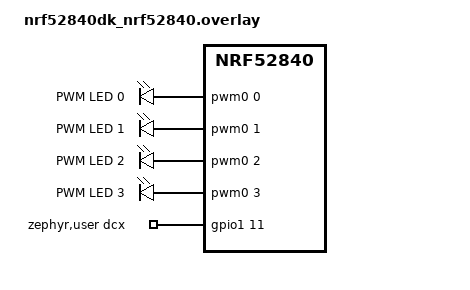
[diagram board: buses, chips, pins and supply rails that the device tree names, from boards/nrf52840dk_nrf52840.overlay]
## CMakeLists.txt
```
#-------------------------------------------------------------------------------
# Zephyr Example Application
#
# Copyright (c) 2021 Nordic Semiconductor ASA
# SPDX-License-Identifier: Apache-2.0

cmake_minimum_required(VERSION 3.13.1)
find_package(Zephyr REQUIRED HINTS $ENV{ZEPHYR_BASE})

project(app LANGUAGES C)

zephyr_include_directories(src)

target_sources(app PRIVATE src/main.c)
target_sources(app PRIVATE src/TheRealGoat.c)
```

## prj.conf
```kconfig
# Copyright (c) 2021 Nordic Semiconductor ASA
# SPDX-License-Identifier: Apache-2.0
#
# This file contains selected Kconfig options for the application.

CONFIG_GPIO=y
CONFIG_PWM=y
CONFIG_SMF=y

CONFIG_SPI=y
CONFIG_I2C=y

CONFIG_DISPLAY=y
CONFIG_LVGL=y

CONFIG_MAIN_STACK_SIZE=4096
CONFIG_HEAP_MEM_POOL_SIZE=32768
CONFIG_LV_Z_MEM_POOL_SIZE=32768

CONFIG_CONSOLE=y
CONFIG_PRINTK=y
```

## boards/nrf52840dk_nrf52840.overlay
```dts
/ {
    pwmleds {
        compatible = "pwm-leds";
        pwm_led0: pwm_led_0 {
            pwms = <&pwm0 0 PWM_MSEC(20) PWM_POLARITY_NORMAL>;
            label = "PWM LED 0";
        };
        pwm_led1: pwm_led_1 {
            pwms = <&pwm0 1 PWM_MSEC(20) PWM_POLARITY_NORMAL>;
            label = "PWM LED 1";
        };
        pwm_led2: pwm_led_2 {
            pwms = <&pwm0 2 PWM_MSEC(20) PWM_POLARITY_NORMAL>;
            label = "PWM LED 2";
        };
        pwm_led3: pwm_led_3 {
            pwms = <&pwm0 3 PWM_MSEC(20) PWM_POLARITY_NORMAL>;
            label = "PWM LED 3";
        };
    };

    zephyr,user {
        dcx-gpios = <&gpio1 11 GPIO_ACTIVE_HIGH>;
    };




    aliases {
        pwm-led0 = &pwm_led0;
        pwm-led1 = &pwm_led1;
        pwm-led2 = &pwm_led2;
        pwm-led3 = &pwm_led3;
    };
};
&arduino_spi {
cs-gpios = <&gpio1 12 GPIO_ACTIVE_LOW>;
};

&pinctrl { 
    pwm0_default: pwm0_default {
		group1 {
			psels = 
                <NRF_PSEL(PWM_OUT0, 0, 13)>, 
                <NRF_PSEL(PWM_OUT1, 0, 14)>, 
                <NRF_PSEL(PWM_OUT2, 0, 15)>, 
                <NRF_PSEL(PWM_OUT3, 0, 16)>;
			nordic,invert;
		};
	};

    pwm0_sleep: pwm0_sleep {
		group1 {
			psels = 
                <NRF_PSEL(PWM_OUT0, 0, 13)>, 
                <NRF_PSEL(PWM_OUT1, 0, 14)>, 
                <NRF_PSEL(PWM_OUT2, 0, 15)>, 
                <NRF_PSEL(PWM_OUT3, 0, 16)>;
			low-power-enable;
		};
	};
};
```

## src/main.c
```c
/**
 * @file main.c
 */

#include <stdbool.h>
#include <stdint.h>

#include <zephyr/device.h>
#include <zephyr/drivers/display.h>
#include <zephyr/kernel.h>
#include <zephyr/sys/printk.h>

#include <lvgl.h>

#include "BTN.h"
#include "LED.h"

#define SCREEN_W 320
#define SCREEN_H 240

#define PADDLE_W 20
#define PADDLE_H 5
#define BALL_SIZE 16

#define LAUNCHER_W 12
#define LAUNCHER_H 24

#define PLAYER1_Y (SCREEN_H - 20)
#define PLAYER2_Y 25

#define PLAYER_SPEED 10
#define FRAME_MS 16
#define COUNTDOWN_TIME_MS 3000

#define WIN_SCORE 5

#define GAME_OVER_LED_STEP_MS 80

typedef struct {
    int x;
    int y;
    int vx;
    int vy;
} ball_t;

static const struct device *display_dev;

/* LVGL objects */
static lv_obj_t *player1_paddle;
static lv_obj_t *player2_paddle;
static lv_obj_t *ball_obj;
static lv_obj_t *player1_score_label;
static lv_obj_t *player2_score_label;
static lv_obj_t *winner_label;
static lv_obj_t *restart_label;
static lv_obj_t *countdown_label;
static lv_obj_t *launcher_box;

/* Game state */
static ball_t ball;
static int player1_x = (SCREEN_W - PADDLE_W) / 2;
static int player2_x = (SCREEN_W - PADDLE_W) / 2;
static int player1_score = 0;
static int player2_score = 0;
static bool game_over = false;

static void update_ui_positions(void);
static void reset_ball(bool toward_player1);
static void update_game(void);
static void update_score_labels(void);
static void show_game_over(uint8_t winner);
static void reset_match(void);

static int game_over_led_index = 0;
static int game_over_led_timer_ms = 0;
static void all_leds_off(void);
static void update_game_over_leds(void);

static void start_round_pause(bool toward_player1);
static void update_round_pause(void);
static bool round_pause = false;
static int countdown_ms = 0;
static int next_serve_toward_player1 = 1;

// The goat
LV_IMAGE_DECLARE(TheRealGoat);
/*----------------------------------------------------------------------------
 * Helper: update score text
 *---------------------------------------------------------------------------*/
static void update_score_labels(void)
{
    static char top_text[24];
    static char bottom_text[24];

    snprintk(top_text, sizeof(top_text), "P2: %d", player2_score);
    snprintk(bottom_text, sizeof(bottom_text), "P1: %d", player1_score);

    lv_label_set_text(player2_score_label, top_text);
    lv_label_set_text(player1_score_label, bottom_text);

    lv_obj_update_layout(player2_score_label);
    lv_obj_update_layout(player1_score_label);

    // Bottom score: centered above Player 1 paddle
    lv_obj_align(player1_score_label, LV_ALIGN_BOTTOM_MID, 0, -28);

    lv_obj_align(player2_score_label, LV_ALIGN_TOP_MID, 0, 40);

    // Rotate around the label's own center so it stays visually centered
    lv_obj_set_style_transform_pivot_x(player2_score_label, lv_obj_get_width(player2_score_label) / 2, 0);
    lv_obj_set_style_transform_pivot_y(player2_score_label, lv_obj_get_height(player2_score_label) / 2, 0);
}



/*----------------------------------------------------------------------------
 * Helper: reset ball
 *---------------------------------------------------------------------------*/
static void reset_ball(bool toward_player1)
{
    ball.x = 0;
    ball.y = (SCREEN_H - BALL_SIZE) / 2;
    ball.vx = 6;

    if (toward_player1) {
        ball.vy = 4;
    } else {
        ball.vy = -4;
    }
}


/*----------------------------------------------------------------------------
 * Helper: reset full match
 * BTN0 resets after game over
 *---------------------------------------------------------------------------*/
static void reset_match(void)
{
    player1_score = 0;
    player2_score = 0;
    player1_x = (SCREEN_W - PADDLE_W) / 2;
    player2_x = (SCREEN_W - PADDLE_W) / 2;
    game_over = false;

    round_pause = false;
    countdown_ms = 0;

    game_over_led_index = 0;
    game_over_led_timer_ms = 0;
    all_leds_off();

    update_score_labels();
    reset_ball(true);
    update_ui_positions();
    lv_obj_set_style_transform_rotation(winner_label, 0, 0);
    lv_obj_set_style_transform_rotation(restart_label, 0, 0);
    lv_obj_add_flag(winner_label, LV_OBJ_FLAG_HIDDEN);
    lv_obj_add_flag(restart_label, LV_OBJ_FLAG_HIDDEN);
    lv_obj_add_flag(countdown_label, LV_OBJ_FLAG_HIDDEN);
    lv_obj_clear_flag(player1_paddle, LV_OBJ_FLAG_HIDDEN);
    lv_obj_clear_flag(player2_paddle, LV_OBJ_FLAG_HIDDEN);
    lv_obj_clear_flag(ball_obj, LV_OBJ_FLAG_HIDDEN);
}

/*----------------------------------------------------------------------------
 * Helper: show game over screen
 *---------------------------------------------------------------------------*/
static void show_game_over(uint8_t winner)
{
    static char win_text[40];

    game_over = true;
    round_pause = false;
    lv_obj_add_flag(countdown_label, LV_OBJ_FLAG_HIDDEN);

    snprintk(win_text, sizeof(win_text), "Congrats Player %d!", winner);
    lv_label_set_text(winner_label, win_text);
    lv_label_set_text(restart_label, "Press BTN1 to restart");

    /* First make them visible */
    lv_obj_clear_flag(winner_label, LV_OBJ_FLAG_HIDDEN);
    lv_obj_clear_flag(restart_label, LV_OBJ_FLAG_HIDDEN);

    /* Let LVGL calculate the real size of the text */
    lv_obj_update_layout(winner_label);
    lv_obj_update_layout(restart_label);

    if (winner == 2) {
        lv_obj_set_style_transform_pivot_x(winner_label, lv_obj_get_width(winner_label) / 2, 0);
        lv_obj_set_style_transform_pivot_y(winner_label, lv_obj_get_height(winner_label) / 2, 0);

        lv_obj_set_style_transform_pivot_x(restart_label, lv_obj_get_width(restart_label) / 2, 0);
        lv_obj_set_style_transform_pivot_y(restart_label, lv_obj_get_height(restart_label) / 2, 0);

        // Put the text where Player 2 can read it
        lv_obj_align(winner_label, LV_ALIGN_CENTER, 0, 10);
        lv_obj_align(restart_label, LV_ALIGN_CENTER, 0, -20);        
    } else {
        lv_obj_set_style_transform_rotation(winner_label, 0, 0);
        lv_obj_set_style_transform_rotation(restart_label, 0, 0);
        
        lv_obj_align(winner_label, LV_ALIGN_CENTER, 0, -10);
        lv_obj_align(restart_label, LV_ALIGN_CENTER, 0, 20);
    }

    lv_obj_align(winner_label, LV_ALIGN_CENTER, 0, -10);
    lv_obj_align(restart_label, LV_ALIGN_CENTER, 0, 20);

    lv_obj_clear_flag(winner_label, LV_OBJ_FLAG_HIDDEN);
    lv_obj_clear_flag(restart_label, LV_OBJ_FLAG_HIDDEN);
    lv_obj_add_flag(countdown_label, LV_OBJ_FLAG_HIDDEN);

    lv_obj_add_flag(player1_paddle, LV_OBJ_FLAG_HIDDEN);
    lv_obj_add_flag(player2_paddle, LV_OBJ_FLAG_HIDDEN);
    lv_obj_add_flag(ball_obj, LV_OBJ_FLAG_HIDDEN);
}

/*----------------------------------------------------------------------------
 * Helper: push state to LVGL objects
 *---------------------------------------------------------------------------*/
static void update_ui_positions(void)
{
    lv_obj_set_pos(player1_paddle, player1_x, PLAYER1_Y);
    lv_obj_set_pos(player2_paddle, player2_x, PLAYER2_Y);
    lv_obj_set_pos(ball_obj, ball.x, ball.y);
}

static void start_round_pause(bool toward_player1)
{
    round_pause = true;
    countdown_ms = COUNTDOWN_TIME_MS;
    next_serve_toward_player1 = toward_player1 ? 1 : 0;

    player1_x = (SCREEN_W - PADDLE_W) / 2;
    player2_x = (SCREEN_W - PADDLE_W) / 2;
    update_ui_positions();

    lv_obj_add_flag(ball_obj, LV_OBJ_FLAG_HIDDEN);
    lv_obj_clear_flag(countdown_label, LV_OBJ_FLAG_HIDDEN);
}

static void update_round_pause(void)
{
    static char countdown_text[16];
    int seconds_left;

    if (!round_pause) {
        return;
    }

    seconds_left = (countdown_ms + 999) / 1000;
    snprintk(countdown_text, sizeof(countdown_text), "%d", seconds_left);
    lv_label_set_text(countdown_label, countdown_text);

    countdown_ms -= FRAME_MS;

    if (countdown_ms <= 0) {
        round_pause = false;
        lv_obj_add_flag(countdown_label, LV_OBJ_FLAG_HIDDEN);
        lv_obj_clear_flag(ball_obj, LV_OBJ_FLAG_HIDDEN);

        reset_ball(next_serve_toward_player1);
        update_ui_positions();
    }
}

// LED helpers
static void show_p2_hit_leds(void)
{
    LED_set(LED0, LED_ON);
    LED_set(LED1, LED_ON);
    LED_set(LED2, LED_OFF);
    LED_set(LED3, LED_OFF);
}

static void show_p1_hit_leds(void)
{
    LED_set(LED0, LED_OFF);
    LED_set(LED1, LED_OFF);
    LED_set(LED2, LED_ON);
    LED_set(LED3, LED_ON);
}

static void all_leds_off(void)
{
    LED_set(LED0, LED_OFF);
    LED_set(LED1, LED_OFF);
    LED_set(LED2, LED_OFF);
    LED_set(LED3, LED_OFF);
}

static void update_game_over_leds(void)
{
    game_over_led_timer_ms += FRAME_MS;

    if (game_over_led_timer_ms < GAME_OVER_LED_STEP_MS) {
        return;
    }

    game_over_led_timer_ms = 0;

    all_leds_off();

    switch (game_over_led_index) {
    case 0:
        LED_set(LED0, LED_ON);
        break;
    case 1:
        LED_set(LED1, LED_ON);
        break;
    case 2:
        LED_set(LED2, LED_ON);
        break;
    case 3:
        LED_set(LED3, LED_ON);
        break;
    }

    game_over_led_index = (game_over_led_index + 1) % 4;
}

/*----------------------------------------------------------------------------
 * Main game step
 * Player 2 (top):    BTN0 left, BTN1 right
 * Player 1 (bottom): BTN2 left, BTN3 right
 *---------------------------------------------------------------------------*/
static void update_game(void)
{
    if (game_over) {

        update_game_over_leds();

        if (BTN_is_pressed(BTN0)) {
            k_msleep(150);
            reset_match();
        }
        return;
    }

    if (round_pause) {
        update_round_pause();
        return;
    }

    /* Player 2 movement */
    if (BTN_is_pressed(BTN0) && !BTN_is_pressed(BTN1)) {
        player2_x -= PLAYER_SPEED;
    } else if (BTN_is_pressed(BTN1) && !BTN_is_pressed(BTN0)) {
        player2_x += PLAYER_SPEED;
    }

    /* Player 1 movement */
    if (BTN_is_pressed(BTN2) && !BTN_is_pressed(BTN3)) {
        player1_x -= PLAYER_SPEED;
    } else if (BTN_is_pressed(BTN3) && !BTN_is_pressed(BTN2)) {
        player1_x += PLAYER_SPEED;
    }

    if (player1_x < 0) {
        player1_x = 0;
    }
    if (player1_x > (SCREEN_W - PADDLE_W)) {
        player1_x = SCREEN_W - PADDLE_W;
    }

    if (player2_x < 0) {
        player2_x = 0;
    }
    if (player2_x > (SCREEN_W - PADDLE_W)) {
        player2_x = SCREEN_W - PADDLE_W;
    }
    // Ball Movement
    ball.x += ball.vx;
    ball.y += ball.vy;

    // Side Walls
    if (ball.x <= 0) {
        ball.x = 0;
        ball.vx = -ball.vx;
    }
    if (ball.x >= (SCREEN_W - BALL_SIZE)) {
        ball.x = SCREEN_W - BALL_SIZE;
        ball.vx = -ball.vx;
    }

    int ball_center = ball.x + (BALL_SIZE / 2);

    // Top paddle collision
    if ((ball.y <= (PLAYER2_Y + PADDLE_H)) &&
        ((ball.y + BALL_SIZE) >= PLAYER2_Y) &&
        ((ball.x + BALL_SIZE) >= player2_x) &&
        (ball.x <= (player2_x + PADDLE_W)) &&
        (ball.vy < 0)) {

        ball.y = PLAYER2_Y + PADDLE_H;
        ball.vy = -ball.vy;

        show_p2_hit_leds();

        int offset = ball_center - (player2_x + (PADDLE_W / 2));
        if (offset < -10) {
            ball.vx = -3;
        } else if (offset > 10) {
            ball.vx = 3;
        }
    }

    // Bottom paddle collision
    if (((ball.y + BALL_SIZE) >= PLAYER1_Y) &&
        (ball.y <= (PLAYER1_Y + PADDLE_H)) &&
        ((ball.x + BALL_SIZE) >= player1_x) &&
        (ball.x <= (player1_x + PADDLE_W)) &&
        (ball.vy > 0)) {

        ball.y = PLAYER1_Y - BALL_SIZE;
        ball.vy = -ball.vy;

        show_p1_hit_leds();

        int offset = ball_center - (player1_x + (PADDLE_W / 2));
        if (offset < -10) {
            ball.vx = -3;
        } else if (offset > 10) {
            ball.vx = 3;
        }
    }

    // Score Conditions
    if (ball.y < 0) {
        player1_score++;
        update_score_labels();

        if (player1_score >= WIN_SCORE) {
            show_game_over(1);
            return;
        }

        start_round_pause(false);
        return;
    } else if (ball.y > SCREEN_H) {
        player2_score++;
        update_score_labels();

        if (player2_score >= WIN_SCORE) {
            show_game_over(2);
            return;
        }

        start_round_pause(true);
        return;
    }

    update_ui_positions();

}
/*----------------------------------------------------------------------------
 * Create all LVGL objects
 *---------------------------------------------------------------------------*/
static void create_ui(void)
{
    lv_obj_t *screen = lv_screen_active();
    lv_obj_set_style_bg_color(screen, lv_color_black(), 0);

    // Launcher box
    launcher_box = lv_obj_create(screen);
    lv_obj_set_size(launcher_box, LAUNCHER_W, LAUNCHER_H);
    lv_obj_set_pos(launcher_box, 0, (SCREEN_H - LAUNCHER_H) / 2);
    lv_obj_set_style_bg_color(launcher_box, lv_palette_main(LV_PALETTE_GREY), 0);
    lv_obj_set_style_border_color(launcher_box, lv_color_white(), 0);
    lv_obj_set_style_border_width(launcher_box, 1, 0);
    lv_obj_set_style_radius(launcher_box, 0, 0);

    // Top score
    player2_score_label = lv_label_create(screen);
    lv_obj_set_style_text_color(player2_score_label, lv_color_white(), 0);
    lv_obj_set_style_transform_rotation(player2_score_label, 1800, 0);

    // Bottom score
    player1_score_label = lv_label_create(screen);
    lv_obj_set_style_text_color(player1_score_label, lv_color_white(), 0);
    lv_obj_align(player1_score_label, LV_ALIGN_BOTTOM_MID, 0, -28);

    // Top paddle
    player2_paddle = lv_obj_create(screen);
    lv_obj_set_size(player2_paddle, PADDLE_W, PADDLE_H);
    lv_obj_set_style_bg_color(player2_paddle, lv_color_white(), 0);
    lv_obj_set_style_border_width(player2_paddle, 0, 0);
    lv_obj_set_style_radius(player2_paddle, 0, 0);

    // Bottom paddle
    player1_paddle = lv_obj_create(screen);
    lv_obj_set_size(player1_paddle, PADDLE_W, PADDLE_H);
    lv_obj_set_style_bg_color(player1_paddle, lv_palette_main(LV_PALETTE_BLUE), 0);
    lv_obj_set_style_border_width(player1_paddle, 0, 0);
    lv_obj_set_style_radius(player1_paddle, 0, 0);

    // Ball
    ball_obj = lv_image_create(screen);
    lv_image_set_src(ball_obj, &TheRealGoat);

    // Winner label
    winner_label = lv_label_create(screen);
    lv_obj_set_style_text_color(winner_label, lv_palette_main(LV_PALETTE_GREEN), 0);
    lv_obj_set_style_text_font(winner_label, &lv_font_montserrat_14, 0);
    lv_obj_align(winner_label, LV_ALIGN_CENTER, 0, -10);
    lv_obj_add_flag(winner_label, LV_OBJ_FLAG_HIDDEN);

    // Restart label
    restart_label = lv_label_create(screen);
    lv_label_set_text(restart_label, "Press BTN1 to restart");
    lv_obj_set_style_text_color(restart_label, lv_color_white(), 0);
    lv_obj_align(restart_label, LV_ALIGN_CENTER, 0, 20);
    lv_obj_add_flag(restart_label, LV_OBJ_FLAG_HIDDEN);

    // Countdown label
    countdown_label = lv_label_create(screen);
    lv_obj_set_style_text_color(countdown_label, lv_color_white(), 0);
    lv_obj_set_style_text_font(countdown_label, &lv_font_montserrat_14, 0);
    lv_obj_align(countdown_label, LV_ALIGN_CENTER, 0, 0);
    lv_obj_add_flag(countdown_label, LV_OBJ_FLAG_HIDDEN);

    update_score_labels();
    reset_ball(true);
    update_ui_positions();
}

/*----------------------------------------------------------------------------
 * Main
 *---------------------------------------------------------------------------*/
int main(void)
{
    int ret;

    display_dev = DEVICE_DT_GET(DT_CHOSEN(zephyr_display));

    if (!device_is_ready(display_dev)) {
        printk("Display device not ready\n");
        return 0;
    }

    ret = BTN_init();
    if (ret < 0) {
        printk("BTN_init failed: %d\n", ret);
        return 0;
    }
    ret = LED_init();
    if (ret < 0) {
    printk("LED_init failed: %d\n", ret);
    return 0;
}

    create_ui();
    display_blanking_off(display_dev);

    printk("2-player Pong starting...\n");
    printk("P2(top): BTN1 left, BTN2 right\n");
    printk("P1(bot): BTN3 left, BTN4 right\n");

    while (true) {
        update_game();
        lv_timer_handler();
        k_msleep(FRAME_MS);
    }

    return 0;
}
```

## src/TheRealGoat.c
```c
#ifdef __has_include
    #if __has_include("lvgl.h")
        #ifndef LV_LVGL_H_INCLUDE_SIMPLE
            #define LV_LVGL_H_INCLUDE_SIMPLE
        #endif
    #endif
#endif

#if defined(LV_LVGL_H_INCLUDE_SIMPLE)
    #include "lvgl.h"
#else
    #include "lvgl/lvgl.h"
#endif


#ifndef LV_ATTRIBUTE_MEM_ALIGN
#define LV_ATTRIBUTE_MEM_ALIGN
#endif

#ifndef LV_ATTRIBUTE_IMAGE_THEREALGOAT
#define LV_ATTRIBUTE_IMAGE_THEREALGOAT
#endif

const LV_ATTRIBUTE_MEM_ALIGN LV_ATTRIBUTE_LARGE_CONST LV_ATTRIBUTE_IMAGE_THEREALGOAT uint8_t TheRealGoat_map[] = {
  0x51, 0x47, 0x3d, 0x44, 0x3b, 0x31, 0x46, 0x41, 0x38, 0x45, 0x44, 0x3d, 0x46, 0x48, 0x45, 0x42, 0x47, 0x48, 0x45, 0x4d, 0x50, 0x3b, 0x43, 0x46, 0x3d, 0x46, 0x46, 0x4d, 0x55, 0x52, 0x57, 0x5c, 0x57, 0x4f, 0x52, 0x4c, 0x5a, 0x5c, 0x56, 0x4e, 0x50, 0x49, 0x4b, 0x4c, 0x45, 0x4a, 0x4b, 0x42, 
  0x53, 0x49, 0x41, 0x57, 0x4f, 0x48, 0x4b, 0x46, 0x40, 0x55, 0x54, 0x51, 0x41, 0x44, 0x46, 0x36, 0x3b, 0x43, 0x2b, 0x31, 0x3d, 0x21, 0x28, 0x35, 0x1a, 0x20, 0x2b, 0x1f, 0x24, 0x2c, 0x3f, 0x43, 0x45, 0x55, 0x58, 0x56, 0x60, 0x63, 0x5e, 0x59, 0x5b, 0x55, 0x57, 0x58, 0x52, 0x5c, 0x5b, 0x56, 
  0x58, 0x50, 0x4d, 0x60, 0x59, 0x57, 0x5c, 0x58, 0x59, 0x4f, 0x4e, 0x54, 0x30, 0x32, 0x40, 0x67, 0x6b, 0x81, 0x4d, 0x50, 0x6e, 0x4b, 0x4d, 0x6f, 0x32, 0x34, 0x55, 0x22, 0x24, 0x3f, 0x1d, 0x20, 0x2f, 0x28, 0x2b, 0x32, 0x46, 0x48, 0x48, 0x6a, 0x6c, 0x6a, 0x68, 0x67, 0x67, 0x62, 0x5f, 0x61, 
  0x60, 0x5a, 0x5b, 0x62, 0x5d, 0x61, 0x6d, 0x6a, 0x73, 0x48, 0x49, 0x57, 0x48, 0x4c, 0x63, 0x95, 0x9a, 0xba, 0x83, 0x86, 0xb2, 0x63, 0x65, 0x96, 0x55, 0x55, 0x87, 0x40, 0x40, 0x6b, 0x29, 0x2b, 0x46, 0x1b, 0x1e, 0x2c, 0x23, 0x27, 0x29, 0x73, 0x74, 0x74, 0x7d, 0x7a, 0x7f, 0x70, 0x6b, 0x73, 
  0x6c, 0x68, 0x6d, 0x6e, 0x6b, 0x74, 0x6e, 0x6e, 0x7e, 0x4f, 0x51, 0x69, 0x4a, 0x50, 0x6f, 0x9d, 0xa5, 0xcd, 0x74, 0x7a, 0xae, 0x7c, 0x80, 0xbb, 0x67, 0x69, 0xa7, 0x4e, 0x4f, 0x85, 0x33, 0x36, 0x58, 0x2b, 0x2f, 0x41, 0x14, 0x19, 0x1c, 0x5d, 0x5f, 0x5f, 0x87, 0x83, 0x8c, 0x75, 0x6e, 0x7c, 
  0x70, 0x70, 0x73, 0x83, 0x85, 0x8d, 0x67, 0x6a, 0x7c, 0x4f, 0x55, 0x70, 0x84, 0x8e, 0xb0, 0x8c, 0x98, 0xc1, 0x8a, 0x95, 0xc9, 0x7f, 0x88, 0xc3, 0x7b, 0x81, 0xc0, 0x56, 0x5b, 0x92, 0x38, 0x3f, 0x61, 0x26, 0x2d, 0x3d, 0x1c, 0x23, 0x23, 0x4e, 0x52, 0x50, 0x80, 0x7d, 0x86, 0x7f, 0x79, 0x87, 
  0x8b, 0x91, 0x8d, 0x9a, 0xa1, 0xa4, 0x5e, 0x66, 0x77, 0x61, 0x6b, 0x86, 0x8d, 0x9d, 0xbb, 0x82, 0x95, 0xb8, 0x4d, 0x60, 0x89, 0x23, 0x34, 0x63, 0x5f, 0x6c, 0xa0, 0x49, 0x55, 0x82, 0x23, 0x2e, 0x49, 0x27, 0x33, 0x3c, 0x25, 0x2f, 0x28, 0x1f, 0x26, 0x1e, 0x91, 0x91, 0x94, 0x7e, 0x7b, 0x84, 
  0x9d, 0xa5, 0xa2, 0xaa, 0xb2, 0xb8, 0x56, 0x5e, 0x76, 0x77, 0x81, 0xa4, 0x6a, 0x7a, 0xa1, 0x6e, 0x82, 0xab, 0x3f, 0x54, 0x7e, 0x24, 0x38, 0x65, 0x78, 0x88, 0xba, 0x13, 0x20, 0x4d, 0x3d, 0x49, 0x66, 0x33, 0x3e, 0x4c, 0x23, 0x2d, 0x2b, 0x2c, 0x32, 0x2d, 0x97, 0x96, 0x9b, 0x91, 0x8e, 0x98, 
  0xa9, 0xb0, 0xb5, 0xb7, 0xbd, 0xcd, 0x88, 0x8c, 0xb3, 0x91, 0x96, 0xcb, 0x9d, 0xa8, 0xe1, 0x6d, 0x7d, 0xb6, 0x68, 0x7a, 0xaf, 0x4e, 0x60, 0x95, 0x85, 0x93, 0xcd, 0x2b, 0x36, 0x6c, 0x46, 0x4e, 0x78, 0x34, 0x3a, 0x57, 0x6d, 0x72, 0x7f, 0x26, 0x28, 0x30, 0xac, 0xa8, 0xb7, 0x9c, 0x96, 0xa8, 
  0xb8, 0xc0, 0xc3, 0xbe, 0xc4, 0xd5, 0x8e, 0x90, 0xbc, 0x91, 0x93, 0xcf, 0xa3, 0xaa, 0xec, 0x94, 0xa0, 0xe1, 0x84, 0x94, 0xcd, 0x80, 0x90, 0xc8, 0x9f, 0xab, 0xe6, 0x61, 0x69, 0xa1, 0x4e, 0x54, 0x82, 0x43, 0x47, 0x69, 0x43, 0x45, 0x59, 0x34, 0x34, 0x41, 0xb7, 0xb3, 0xc2, 0xac, 0xa7, 0xb6, 
  0xb0, 0xb9, 0xb2, 0xc2, 0xc8, 0xd0, 0x90, 0x92, 0xb7, 0x85, 0x87, 0xbe, 0x6f, 0x74, 0xb3, 0x91, 0x9a, 0xda, 0x71, 0x7f, 0xb7, 0x85, 0x93, 0xc8, 0x64, 0x6f, 0xa5, 0x0d, 0x15, 0x47, 0x32, 0x37, 0x61, 0x4a, 0x4d, 0x6c, 0x27, 0x29, 0x3a, 0x86, 0x87, 0x8e, 0xc8, 0xc8, 0xcc, 0xb9, 0xb8, 0xba, 
  0xbd, 0xc5, 0xba, 0xbc, 0xc3, 0xc6, 0x9f, 0xa1, 0xc0, 0x7a, 0x7a, 0xac, 0x53, 0x55, 0x91, 0x7a, 0x80, 0xbe, 0x74, 0x7f, 0xb5, 0x7f, 0x8a, 0xbc, 0x71, 0x7b, 0xab, 0x3d, 0x44, 0x6f, 0x2e, 0x33, 0x56, 0x31, 0x34, 0x4d, 0x22, 0x24, 0x32, 0x91, 0x92, 0x96, 0xbb, 0xbc, 0xba, 0xb5, 0xb7, 0xb2, 
  0xba, 0xc1, 0xb7, 0xc0, 0xc5, 0xc7, 0xa2, 0xa2, 0xbc, 0x62, 0x62, 0x8d, 0x71, 0x72, 0xa8, 0x77, 0x7a, 0xb4, 0x69, 0x70, 0xa4, 0x52, 0x5b, 0x8a, 0x59, 0x60, 0x8a, 0x21, 0x27, 0x4a, 0x0d, 0x11, 0x2d, 0x23, 0x25, 0x3a, 0x21, 0x22, 0x2d, 0xd4, 0xd4, 0xd7, 0xbf, 0xc0, 0xbd, 0xb8, 0xb9, 0xb3, 
  0xb6, 0xb9, 0xb3, 0xb6, 0xb8, 0xbc, 0x8d, 0x8c, 0xa2, 0x80, 0x7f, 0xa4, 0x59, 0x59, 0x89, 0x58, 0x5a, 0x8d, 0x63, 0x69, 0x98, 0x77, 0x7e, 0xa6, 0x68, 0x6f, 0x90, 0x36, 0x3c, 0x56, 0x28, 0x2d, 0x40, 0x21, 0x24, 0x30, 0x7b, 0x7c, 0x83, 0xc1, 0xc1, 0xc4, 0xb4, 0xb3, 0xb2, 0xb2, 0xb1, 0xad, 
  0x9c, 0x9a, 0x9c, 0x72, 0x71, 0x78, 0x5c, 0x5a, 0x6d, 0x90, 0x8f, 0xad, 0x5b, 0x5b, 0x83, 0x4c, 0x4d, 0x78, 0x64, 0x68, 0x8f, 0x6b, 0x71, 0x91, 0x5b, 0x62, 0x78, 0x38, 0x40, 0x4d, 0x20, 0x27, 0x2d, 0x5b, 0x60, 0x62, 0xcc, 0xce, 0xcf, 0xbc, 0xbc, 0xbd, 0xb4, 0xb3, 0xb3, 0xb7, 0xb5, 0xb5, 
  0x62, 0x5e, 0x63, 0x7b, 0x78, 0x81, 0x71, 0x6f, 0x81, 0x46, 0x45, 0x60, 0x7b, 0x7b, 0x9f, 0x39, 0x3b, 0x61, 0x40, 0x44, 0x67, 0x27, 0x2c, 0x48, 0x12, 0x1a, 0x2a, 0x07, 0x0f, 0x16, 0x0e, 0x16, 0x16, 0xad, 0xb2, 0xb0, 0xc3, 0xc4, 0xc4, 0xb7, 0xb7, 0xb7, 0xb9, 0xb7, 0xb9, 0xb7, 0xb4, 0xb6, 
};

const lv_image_dsc_t TheRealGoat = {
  .header.cf = LV_COLOR_FORMAT_RGB888,
  .header.magic = LV_IMAGE_HEADER_MAGIC,
  .header.w = 16,
  .header.h = 16,
  .data_size = 256 * 3,
  .data = TheRealGoat_map,
};
```

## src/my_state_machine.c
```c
/**
 * @file my_state_machine.c
 *
 * This file implements the 5-state FSM from the diagram:
 * 
 * S0: all LEDs off
 * S1: LED1 blinks at 4 Hz
 * S2: LED1 & 3 on, LED2 & 4 off
 * S3: LED1 & 3 off, LED2 & 4 on
 * S4: all LEDs blink at 16 Hz
 * 
 */

#include <zephyr/kernel.h>
#include <zephyr/sys/printk.h>
#include <zephyr/smf.h> // SMF types, macros, and functions

#include "BTN.h"        // EiE button API
#include "LED.h"        // EiE LED API
#include "my_state_machine.h"

/*-----------------------------------------------------------
 * Timing Configuration
 *-----------------------------------------------------------*/

// Our main loop in main.c sleeps for SLEEP_MS_1, so each call to
// state_machine_run() happens roughly every 1ms.
#define TICK_MS 1u

//How many "ticks" to get 1 second, assuming 1 ms per tick.
#define TICKS_PER_SEC (1000u / TICK_MS)

/*-----------------------------------------------------------
 * Button Mapping
 *-----------------------------------------------------------*/

/*
* In the diagram they say "Button 1-4"
* on the nRF board and EiE APIs we have BTN0-BTN3
* We'll map them like this:
*
* Diagram Button 1 -> BTN0
* Diagram Button 2 -> BTN1
* Diagram Button 3 -> BTN2
* Diagram Button 4 -> BTN3
*/

#define BUTTON1 BTN0
#define BUTTON2 BTN1
#define BUTTON3 BTN2
#define BUTTON4 BTN3

/*-----------------------------------------------------------
 * Function Prototypes for each state's entry/run/exit
 *
 * SMF expects:
 *  entry: void state_entry(void *obj)
 *  run: enum smf_state_result state_run(void *obj)
 *  exit: void state_exit(void *obj)
 * 
 * 'obj' is a pointer to *our* state machine object (defined later).
 *-----------------------------------------------------------*/

// S0: All LEDs off
static void s0_entry(void *o);
static enum smf_state_result s0_run(void *o);
static void s0_exit(void *o);

// S1: LED1 blink at 4 Hz
static void s1_entry(void *o);
static enum smf_state_result s1_run(void *o);
static void s1_exit(void *o);

// S2: LED1 & 3 on, LED2 & 4 off
static void s2_entry(void *o);
static enum smf_state_result s2_run(void *o);
static void s2_exit(void *o);

// S3: LED1 & 3 off, LED2 & 4 on
static void s3_entry(void *o);
static enum smf_state_result s3_run(void *o);
static void s3_exit(void *o);

// S4: All LEDs blink at 16 Hz
static void s4_entry(void *o);
static enum smf_state_result s4_run(void *o);
static void s4_exit(void *o);

/*-----------------------------------------------------------
 * State IDs and state machine "object" type
 *-----------------------------------------------------------*/

/* 
 * Enum that gives an index for each state
 * These indices will be used to index into the "sm_states" table below.
*/
typedef enum {
    SM_S0_ALL_OFF = 0,          // S0 - All LEDs off
    SM_S1_LED1_BLINK_4HZ,       // S1 - LED1 blink at 4hz
    SM_S2_LEDS_1_3_ON,          // S2 - LED1 & 3 on
    SM_S3_LEDS_2_4_ON,          // S3 - LED2 & 4 on
    SM_S4_ALL_BLINK_16HZ,       // S4 - ALL LEDs blink at 16 Hz
} sm_state_t;

/*
 * This struct is our *state machine object*
 *
 * VERY IMPORTANT: the first member MUST be 'struct smf_ctx ctx;'
 *  - SMF_CTX(&sm_obj) casts '&sm_obj' to a 'struct smf_ctx *'
 *  - SMF internally assumes that 'ctx' is at the beginning of the struct
 *
 * After 'ctx', we can put any data we want (counters, flags, etc.)
 */
typedef struct {
    struct smf_ctx ctx;         // SMF context (must be first)
    uint32_t ticks;             // used in S2/S3 to track elapsed time
} sm_object_t;

/*-----------------------------------------------------------
 * State Table
 *-----------------------------------------------------------*/

/*
 * This is the core of SMF: a table of 'struct smf_state'
 *
 * Each entry is created with SMF_CREATE_STATE(entry, run, exit, parent, initial)
 * 
 * - entry: function called ONCE when entering the state
 * - run: function called very time we call sm_run_state()
 * - exit: function called ONCE when leaving the state
 * - parent: pointer to parent state's struct smf_state (for hierarchial SMs)
 * - initial: point to child's initial state (for hierarchial SMs)
 * 
 * For a flat FSM (no hierarchy), we just pass NULL for parent and initial.
 */

static const struct smf_state sm_states[] = {
    [SM_S0_ALL_OFF] = SMF_CREATE_STATE(s0_entry, s0_run, s0_exit, NULL, NULL),
    [SM_S1_LED1_BLINK_4HZ] = SMF_CREATE_STATE(s1_entry, s1_run, s1_exit, NULL, NULL),
    [SM_S2_LEDS_1_3_ON] = SMF_CREATE_STATE(s2_entry, s2_run, s2_exit, NULL, NULL),
    [SM_S3_LEDS_2_4_ON] = SMF_CREATE_STATE(s3_entry, s3_run, s3_exit, NULL, NULL),
    [SM_S4_ALL_BLINK_16HZ] = SMF_CREATE_STATE(s4_entry, s4_run, s4_exit, NULL, NULL),
};

/*
 * Our single global instance of the state machine object.
 * Could have more than one if multiple independent FSMs were needed.
 */

static sm_object_t sm_obj;

/*-----------------------------------------------------------
 * Public API called from main.c
 *----------------------------------------------------------*/

/*
 * Initialize the FSM:
 *   - clear any counters/flags
 *   - tell SMF what the initial state is
 */
void state_machine_init(void)
{
    sm_obj.ticks = 0;   // start with timer at 0

    // smf_set_initial(ctx, initial_state)
    //
    // SMF_CTX(&sm_obj) turns '&sm_obj' into 'struct smf_ctx *'
    // &sm_states[SM_S0_ALL_OFF] is a pointer to the S0 state entry in our table.
    smf_set_initial(SMF_CTX(&sm_obj), &sm_states[SM_S0_ALL_OFF]);
}

/*
 * Run one "step" of the FSM.
 * This is called in a loop from main.c.
 *
 * smf_run_state() will:
 *   - call the current state's run() function
 *   - if run() calls smf_set_state(), it handles exit() and entry() as needed
 */
int state_machine_run(void)
{
    return smf_run_state(SMF_CTX(&sm_obj));
}

/*-----------------------------------------------------------
 * State S0 – All LEDs off
 *
 * Transitions:
 *   - Button 1 pressed -> S1
 *   - Button 4 pressed -> S4
 *----------------------------------------------------------*/

static void s0_entry(void *o)
{
    ARG_UNUSED(o);  // we don't use the 'o' parameter in this function

    printk("Enter S0: all LEDs off\n");

    // Ensure all LEDs are off when we enter S0
    LED_set(LED0, LED_OFF);
    LED_set(LED1, LED_OFF);
    LED_set(LED2, LED_OFF);
    LED_set(LED3, LED_OFF);
}

static enum smf_state_result s0_run(void *o)
{
    ARG_UNUSED(o);  // we don't need 'o' in this simple state

    // BTN_check_clear_pressed() returns true ONCE when a debounced press is
    // detected, and also clears its internal flag so it won't repeat.
    if (BTN_check_clear_pressed(BUTTON1)) {
        // Button 1 pressed → transition to S1
        smf_set_state(SMF_CTX(&sm_obj), &sm_states[SM_S1_LED1_BLINK_4HZ]);

    } else if (BTN_check_clear_pressed(BUTTON4)) {
        // Button 4 pressed → transition to S4
        smf_set_state(SMF_CTX(&sm_obj), &sm_states[SM_S4_ALL_BLINK_16HZ]);
    }

    // Flat FSM, so we just say "event handled"
    return SMF_EVENT_HANDLED;
}

static void s0_exit(void *o)
{
    ARG_UNUSED(o);
    printk("Exit S0\n");
}

/*-----------------------------------------------------------
 * State S1 – LED1 blink at 4 Hz
 *
 * Transitions:
 *   - Button 2 pressed -> S2
 *   - Button 4 pressed -> S4
 *----------------------------------------------------------*/

static void s1_entry(void *o)
{
    ARG_UNUSED(o);
    printk("Enter S1: LED1 blink 4 Hz\n");

    // Turn off all LEDs except LED1
    LED_set(LED1, LED_OFF);
    LED_set(LED2, LED_OFF);
    LED_set(LED3, LED_OFF);

    // LED_blink(led_id, led_frequency) is provided by the EiE LED API.
    // It sets up a non-blocking timer to toggle the LED at the given rate.
    LED_blink(LED0, LED_4HZ);
}

static enum smf_state_result s1_run(void *o)
{
    ARG_UNUSED(o);

    if (BTN_check_clear_pressed(BUTTON2)) {
        // Move to S2 when Button 2 is pressed
        smf_set_state(SMF_CTX(&sm_obj), &sm_states[SM_S2_LEDS_1_3_ON]);

    } else if (BTN_check_clear_pressed(BUTTON4)) {
        // Jump to S0 if Button 4 is pressed
        smf_set_state(SMF_CTX(&sm_obj), &sm_states[SM_S0_ALL_OFF]);
    } else if (BTN_check_clear_pressed(BUTTON3)) {
        // Button 3 -> S4
        smf_set_state(SMF_CTX(&sm_obj), &sm_states[SM_S4_ALL_BLINK_16HZ]);
    }

    return SMF_EVENT_HANDLED;
}

static void s1_exit(void *o)
{
    ARG_UNUSED(o);
    printk("Exit S1\n");
}

static void s2_entry(void *o)
{
    sm_object_t *self = o;  // cast the generic void* back to our type
    printk("Enter S2: LED1 & LED3 on\n");

    // Start timing from 0 when we enter this state
    self->ticks = 0;

    // Set LEDs according to the diagram
    LED_set(LED0, LED_ON);      // "LED 1" on
    LED_set(LED1, LED_OFF);  // "LED 2" off
    LED_set(LED2, LED_ON);   // "LED 3" on
    LED_set(LED3, LED_OFF);  // "LED 4" off    
}

static enum smf_state_result s2_run(void *o)
{
    sm_object_t *self = o;

    // We assume state_machine_run() is called every 1 ms (TICK_MS),
    // so each time run() executes we add 1 ms to our timer.
    self->ticks += TICK_MS;

    if (BTN_check_clear_pressed(BUTTON4)) {
        // Button 4 pressed → immediate transition back to S0
        smf_set_state(SMF_CTX(self), &sm_states[SM_S0_ALL_OFF]);

    } else if (self->ticks >= 1u * TICKS_PER_SEC) {
        // 1 second has passed → transition to S3
        smf_set_state(SMF_CTX(self), &sm_states[SM_S3_LEDS_2_4_ON]);
    }

    return SMF_EVENT_HANDLED;
}

static void s2_exit(void *o)
{
    ARG_UNUSED(o);
    printk("Exit S2\n");
}

/*-----------------------------------------------------------
 * State S3 – LED1 & LED3 off, LED2 & LED4 on
 *
 * Transitions:
 *   - 2 seconds passed -> S2
 *   - Button 4 pressed -> S0
 *----------------------------------------------------------*/

static void s3_entry(void *o)
{
    sm_object_t *self = o;

    printk("Enter S3: LED2 & LED4 on\n");

    // Reset timer on entry
    self->ticks = 0;

    // LED pattern for S3:
    LED_set(LED0, LED_OFF);  // LED 1 off
    LED_set(LED1, LED_ON);   // LED 2 on
    LED_set(LED2, LED_OFF);  // LED 3 off
    LED_set(LED3, LED_ON);   // LED 4 on
}

static enum smf_state_result s3_run(void *o)
{
    sm_object_t *self = o;

    // Count time in milliseconds again
    self->ticks += TICK_MS;

    if (BTN_check_clear_pressed(BUTTON4)) {
        // Button 4 → back to S0
        smf_set_state(SMF_CTX(self), &sm_states[SM_S0_ALL_OFF]);

    } else if (self->ticks >= 2u * TICKS_PER_SEC) {
        // 2 seconds have passed → go back to S2
        smf_set_state(SMF_CTX(self), &sm_states[SM_S2_LEDS_1_3_ON]);
    }

    return SMF_EVENT_HANDLED;
}

static void s3_exit(void *o)
{
    ARG_UNUSED(o);
    printk("Exit S3\n");
}

/*-----------------------------------------------------------
 * State S4 – All LEDs blink at 16 Hz
 *
 * Transitions:
 *   - Button 4 pressed -> S0
 *----------------------------------------------------------*/

static void s4_entry(void *o)
{
    ARG_UNUSED(o);
    printk("Enter S4: all LEDs blink 16 Hz\n");

    // Blink all LEDs at 16 Hz using the EiE LED API
    LED_blink(LED0, LED_16HZ);
    LED_blink(LED1, LED_16HZ);
    LED_blink(LED2, LED_16HZ);
    LED_blink(LED3, LED_16HZ);
}

static enum smf_state_result s4_run(void *o)
{
    ARG_UNUSED(o);

    // Only transition condition for S4: Button 4 pressed -> S0
    if(BTN_check_clear_pressed(BUTTON4)) {
        smf_set_state(SMF_CTX(&sm_obj), &sm_states[SM_S0_ALL_OFF]);
    }

    return SMF_EVENT_HANDLED;
}

static void s4_exit(void *o)
{
    ARG_UNUSED(o);
    printk("Exit S4\n");
}
```

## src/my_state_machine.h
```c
/**
 * @file my_state_machine.h
 */

 #ifndef MY_STATE_MACHINE_H
 #define MY_STATE_MACHINE_H

 void state_machine_init();

 int state_machine_run();

 #endif // MY_STATE_MACHINE_H
```
